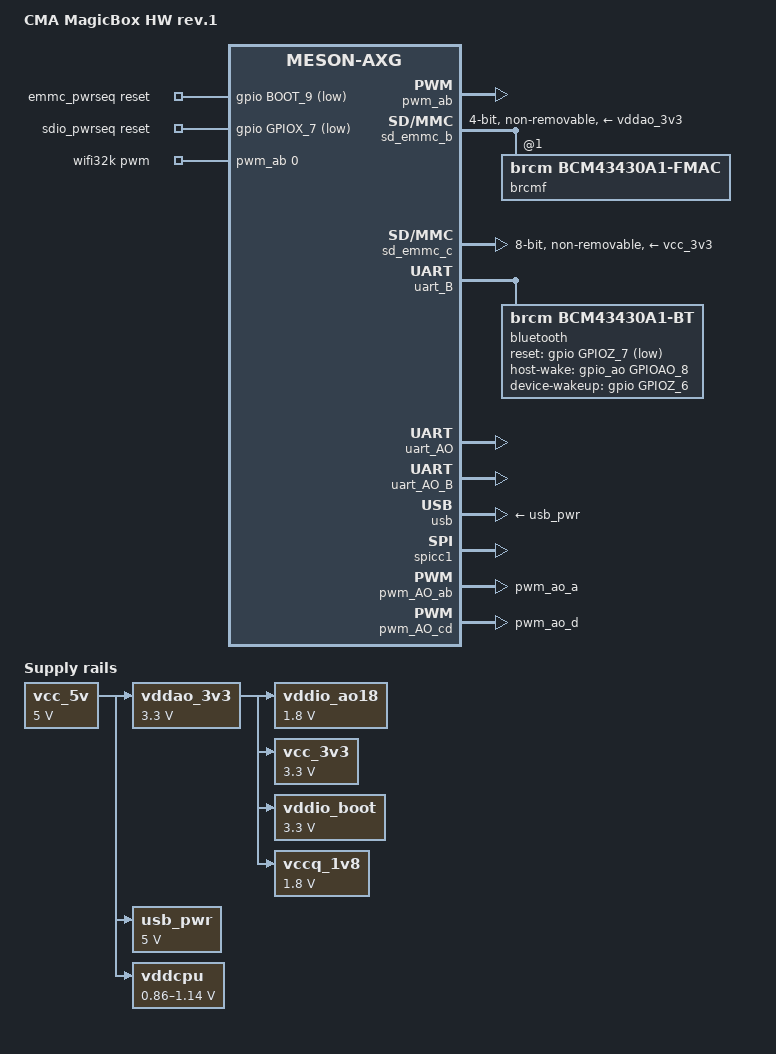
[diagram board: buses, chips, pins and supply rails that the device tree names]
// SPDX-License-Identifier: (GPL-2.0+ OR MIT)
/*
 * Copyright (c) 2024 JetHome
 * Author: Vyacheslav Bocharov <adeep@lexina.in>
 */

/dts-v1/;

#include "meson-axg.dtsi"
#include <dt-bindings/input/input.h>
#include <dt-bindings/thermal/thermal.h>

/ {
	compatible = "jethome,cma-magicbox", "amlogic,a113x", "amlogic,meson-axg";
	model = "CMA MagicBox HW rev.1";
	aliases {
		serial0 = &uart_AO;   /* Console */
		serial2 = &uart_AO_B; /* External UART (Wireless Module) */
		ethernet0 = &ethmac;
	};

	chosen {
		stdout-path = "serial0:115200n8";
	};

	reserved-memory {
		linux,cma {
			size = <0x0 0x400000>;
		};
	};

	/* power regulators */
	vcc_5v: regulator-vcc_5v {
		compatible = "regulator-fixed";
		regulator-name = "VCC5V";
		regulator-min-microvolt = <5000000>;
		regulator-max-microvolt = <5000000>;
		regulator-always-on;
	};

	vddao_3v3: regulator-vddao_3v3 {
		compatible = "regulator-fixed";
		regulator-name = "VDDAO_3V3";
		regulator-min-microvolt = <3300000>;
		regulator-max-microvolt = <3300000>;
		vin-supply = <&vcc_5v>;
		regulator-always-on;
	};

	vddio_ao18: regulator-vddio_ao18 {
		compatible = "regulator-fixed";
		regulator-name = "VDDIO_AO18";
		regulator-min-microvolt = <1800000>;
		regulator-max-microvolt = <1800000>;
		vin-supply = <&vddao_3v3>;
		regulator-always-on;
	};

	usb_pwr: regulator-usb_pwr {
		compatible = "regulator-fixed";
		regulator-name = "USB_PWR";
		regulator-min-microvolt = <5000000>;
		regulator-max-microvolt = <5000000>;
		vin-supply = <&vcc_5v>;
		regulator-always-on;
	};

	/* new */
	vddcpu: regulator-vddcpu {
		/*
		 * SY8120B1ABC Regulator.
		 */
		compatible = "pwm-regulator";

		regulator-name = "VDDCPU";
		regulator-min-microvolt = <860000>;
		regulator-max-microvolt = <1140000>;

		//enable-gpios = <&gpio_ao GPIO_TEST_N GPIO_ACTIVE_HIGH>; /* WARNING: NOT TESTED: not working */

		pwm-supply = <&vcc_5v>;

		pwms = <&pwm_AO_ab 1 1250 0>; /* WARNING: NOT TESTED */
		pwm-dutycycle-range = <100 0>;

		regulator-boot-on;
		regulator-always-on;
	};

	/*vddee: regulator-vddee {
		// SY8120B1ABC Regulator.
		compatible = "pwm-regulator";

		regulator-name = "VDDEE";
		regulator-min-microvolt = <810000>;
		regulator-max-microvolt = <1090000>;

		pwm-supply = <&vcc_5v>;

		pwms = <&pwm_AO_cd 1 1250 0>; // WARNING: NOT TESTED
		pwm-dutycycle-range = <100 0>;

		regulator-boot-on;
		regulator-always-on;
	};*/

	/* not exists */
	vcc_3v3: regulator-vcc_3v3 {
		compatible = "regulator-fixed";
		regulator-name = "VCC_3V3";
		regulator-min-microvolt = <3300000>;
		regulator-max-microvolt = <3300000>;
		vin-supply = <&vddao_3v3>;
		regulator-always-on;
	};
	vddio_boot: regulator-vddio_boot {
		compatible = "regulator-fixed";
		regulator-name = "VDDIO_BOOT";
		regulator-min-microvolt = <3300000>;
		regulator-max-microvolt = <3300000>;
		vin-supply = <&vddao_3v3>;
		regulator-always-on;
	};

	vccq_1v8: regulator-vccq_1v8 {
		compatible = "regulator-fixed";
		regulator-name = "VCCQ_1V8";
		regulator-min-microvolt = <1800000>;
		regulator-max-microvolt = <1800000>;
		vin-supply = <&vddao_3v3>;
		regulator-always-on;
	};



/*
+* 5v
+  * vddao_3v3
   * vddcpu (0.86-1.14) input VDDCPU_EN  VDDCPU_PWM
   * vdd_EE (0.81-1.09) input VDD_EE_EN(always_on from 5v)  VDD_EE_PWM
 * vddao_3v3
   * vddq1.2v (vddq_fb)
+  * vddio_ao18

	/* end power regulators */


	emmc_pwrseq: emmc-pwrseq {
		compatible = "mmc-pwrseq-emmc";
		reset-gpios = <&gpio BOOT_9 GPIO_ACTIVE_LOW>;
	}; // ok boot_9 - rst on emmc


	sdio_pwrseq: sdio-pwrseq {
		compatible = "mmc-pwrseq-simple";
		reset-gpios = <&gpio GPIOX_7 GPIO_ACTIVE_LOW>;
		clocks = <&wifi32k>;
		clock-names = "ext_clock";
	}; // ok gpiox_7 - wl_reg_on

	wifi32k: wifi32k {
		compatible = "pwm-clock";
		#clock-cells = <0>;
		clock-frequency = <32768>;
		pwms = <&pwm_ab 0 30518 0>; /* PWM_A at 32.768KHz */
	}; // ok PWM_A GPIOX_20

	thermal-zones {
		cpu_thermal: cpu-thermal {
			polling-delay-passive = <250>;
			polling-delay = <1000>;
			thermal-sensors = <&scpi_sensors 0>;
			trips {
				cpu_passive: cpu-passive {
					temperature = <70000>; /* millicelsius */
					hysteresis = <2000>; /* millicelsius */
					type = "passive";
				};

				cpu_hot: cpu-hot {
					temperature = <80000>; /* millicelsius */
					hysteresis = <2000>; /* millicelsius */
					type = "hot";
				};

				cpu_critical: cpu-critical {
					temperature = <100000>; /* millicelsius */
					hysteresis = <2000>; /* millicelsius */
					type = "critical";
				};
			};

			cpu_cooling_maps: cooling-maps {
				map0 {
					trip = <&cpu_passive>;
					cooling-device = <&cpu0 THERMAL_NO_LIMIT THERMAL_NO_LIMIT>,
							<&cpu1 THERMAL_NO_LIMIT THERMAL_NO_LIMIT>,
							<&cpu2 THERMAL_NO_LIMIT THERMAL_NO_LIMIT>,
							<&cpu3 THERMAL_NO_LIMIT THERMAL_NO_LIMIT>;
				};

				map1 {
					trip = <&cpu_hot>;
					cooling-device = <&cpu0 THERMAL_NO_LIMIT THERMAL_NO_LIMIT>,
							<&cpu1 THERMAL_NO_LIMIT THERMAL_NO_LIMIT>,
							<&cpu2 THERMAL_NO_LIMIT THERMAL_NO_LIMIT>,
							<&cpu3 THERMAL_NO_LIMIT THERMAL_NO_LIMIT>;
				};
			};
		};
	};
};

&pwm_ab {
	status = "okay";
	pinctrl-0 = <&pwm_a_x20_pins>;
	pinctrl-names = "default";
};

&nfc {
	status = "disabled";
};

/* wifi module */
&sd_emmc_b {
	status = "okay";
	#address-cells = <1>;
	#size-cells = <0>;

	pinctrl-0 = <&sdio_pins>;
	pinctrl-1 = <&sdio_clk_gate_pins>;
	pinctrl-names = "default", "clk-gate";

	bus-width = <4>;
	cap-sd-highspeed;
	max-frequency = <50000000>;
	disable-wp;

	mmc-pwrseq = <&sdio_pwrseq>;

	vmmc-supply = <&vddao_3v3>;
	vqmmc-supply = <&vddio_boot>;

	non-removable;

	brcmf: wifi@1 {
		reg = <1>;
		compatible = "brcm,bcm43430a1-fmac";
		/* GPIOX_6 WIFI_WAKE_HOST */
		interrupt-parent = <&gpio_intc>;
        	interrupts = <67 IRQ_TYPE_EDGE_FALLING>;
		interrupt-names = "host-wake";
	};
};

/* emmc storage */
&sd_emmc_c {
	status = "okay";
	pinctrl-0 = <&emmc_pins>, <&emmc_ds_pins>;
	pinctrl-1 = <&emmc_clk_gate_pins>;
	pinctrl-names = "default", "clk-gate";

	bus-width = <8>;
	cap-mmc-highspeed;
	max-frequency = <200000000>;
	non-removable;
	disable-wp;
	mmc-ddr-1_8v;
	mmc-hs200-1_8v;

	mmc-pwrseq = <&emmc_pwrseq>;

	vmmc-supply = <&vcc_3v3>;
	vqmmc-supply = <&vccq_1v8>;
};

/* UART Bluetooth */
&uart_B {
	status = "okay";
	pinctrl-0 = <&uart_b_z_pins>, <&uart_b_z_cts_rts_pins>;
	pinctrl-names = "default";
	uart-has-rtscts;
	bluetooth {
		/* BT_WAKE_HOST: BT -> HOST GPIOAO_8 */
		compatible = "brcm,bcm43430a1-bt";
		reset-gpios = <&gpio GPIOZ_7 GPIO_ACTIVE_LOW>;
		host-wake-gpios = <&gpio_ao GPIOAO_8 GPIO_ACTIVE_HIGH>;
		device-wakeup-gpios = <&gpio GPIOZ_6 GPIO_ACTIVE_HIGH>;
	};
};

/* UART Console */
&uart_AO {
	status = "okay";
	pinctrl-0 = <&uart_ao_a_pins>;
	pinctrl-names = "default";
};

/* UART Wireless module */
&uart_AO_B {
	status = "okay";
	pinctrl-0 = <&uart_ao_b_pins>;
	pinctrl-names = "default";
};

&usb {
	status = "okay";
	vbus-supply = <&usb_pwr>;
};

&spicc1 {
	status = "okay";
	pinctrl-0 = <&spi1_x_pins>, <&spi1_ss0_x_pins>;
	pinctrl-names = "default";
};

&gpio {
	// GPIOA_9 HUB nRESET
	// GPIOA_14 BT04 PWR_OFF
	// GPIOA_15 BT04 WORK
	// GPIOA_16 BT04 KEY
	// GPIOA_17 BT04 RESET
	// GPIOA_18 BT04 LINK
	// GPIOA_2 USB TRANSIT-CPU
	// GPIOA_3 USB CPU1 OFF
	// GPIOA_4 USB LOCAL RESRV_nPWR-OFF
	gpio-line-names =
		/* GPIOZ */
		"", "", "", "", "", // 0 - 4
		"", "", "", "", "", // 5 - 9
		"UserButton", // 10
		/* BOOT */
		"", "", "", "", "", // 11 - 15
		"", "", "", "", "EMMC_RST", // 16 - 20
		"", "", "", "", "", // 21 - 25
		/* GPIOA */
		//0 538    1 539      2  540     	3 541
		"LedRed", "LedBlue", "CPU2_T_DISABLE", "CPU1_OFF", // 26 - 30
		//4 542      543 544 545 546
		"USB_LOCAL", "", "", "", "", // 31 - 35
		//9 547     548     549     550     551     552     553     554     555     556     557
		"USBHUB_RESET", "", "", "", "", // 36 - 40
		"BT04_PWROFF", "BT04_WORK", "BT04_KEY", "BT04_RESET", "BT04_LINK", // 41 - 45
		"", "", // 46 - 47
		/* GPIOX */
		"WIFI_D0", "WIFI_D1", "WIFI_D2", // 47 - 49
		"WIFI_D3", "WIFI_CLK", "WIFI_CMD", "WIFI_WAKEHOST", "WIFI_PWR_EN", // 50 - 54
		"", "", "", "", "", // 55 - 59
		"", "", "", "", "", // 60 - 64
		"", "", "WIFI_32K_LPO", "", "", // 65 - 69
		/* GPIOY */
		"", "", "", "", "", // 70 - 74
		"", "", "", "", "", // 75 - 79
		"", "", "", "", "", // 80 - 84
		""; // 85
};

&gpio_ao {
	gpio-line-names =
		"CONSOLE_TX", "CONSOLE_RX", "VDDCPU_PWM", "GPIOAO_3", "UART_AO_TX", // 0 - 4
		"UART_AO_RX", "GPIOAO_6", "GPIOAO_7", "BT_WAKE_HOST", "VDDEE_PWM", // 5 - 9
		"GPIOAO_10", "GPIOAO_11", "GPIOAO_12", "GPIOAO_13", "VDDCPU_EN"; // 10 - 14
};

&cpu0 {
	#cooling-cells = <2>;
	cpu-supply = <&vddcpu>;
};

&cpu1 {
	#cooling-cells = <2>;
	cpu-supply = <&vddcpu>;
};

&cpu2 {
	#cooling-cells = <2>;
	cpu-supply = <&vddcpu>;
};

&cpu3 {
	#cooling-cells = <2>;
	cpu-supply = <&vddcpu>;
};

&pwm_AO_ab {
	pinctrl-0 = <&pwm_ao_a_pins>;
	pinctrl-names = "default";
	clocks = <&xtal>;
	clock-names = "clkin1";
	status = "okay";
};

&pwm_AO_cd {
	pinctrl-0 = <&pwm_ao_d_pins>;
	pinctrl-names = "default";
	clocks = <&xtal>;
	clock-names = "clkin1";
	status = "okay";
};

&pinctrl_aobus {
	pwm_ao_a_pins: pwm_ao_a {
		mux {
			groups = "pwm_ao_a";
			function = "pwm_ao_a";
			bias-disable;
		};
	};

	pwm_ao_d_pins: pwm_ao_d {
		mux {
			groups = "pwm_ao_d";
			function = "pwm_ao_d";
			bias-disable;
		};
	};
};

&dwc2 {
	vusb_a-supply = <&vddio_ao18>;
	vusb_d-supply = <&vddao_3v3>;
};
